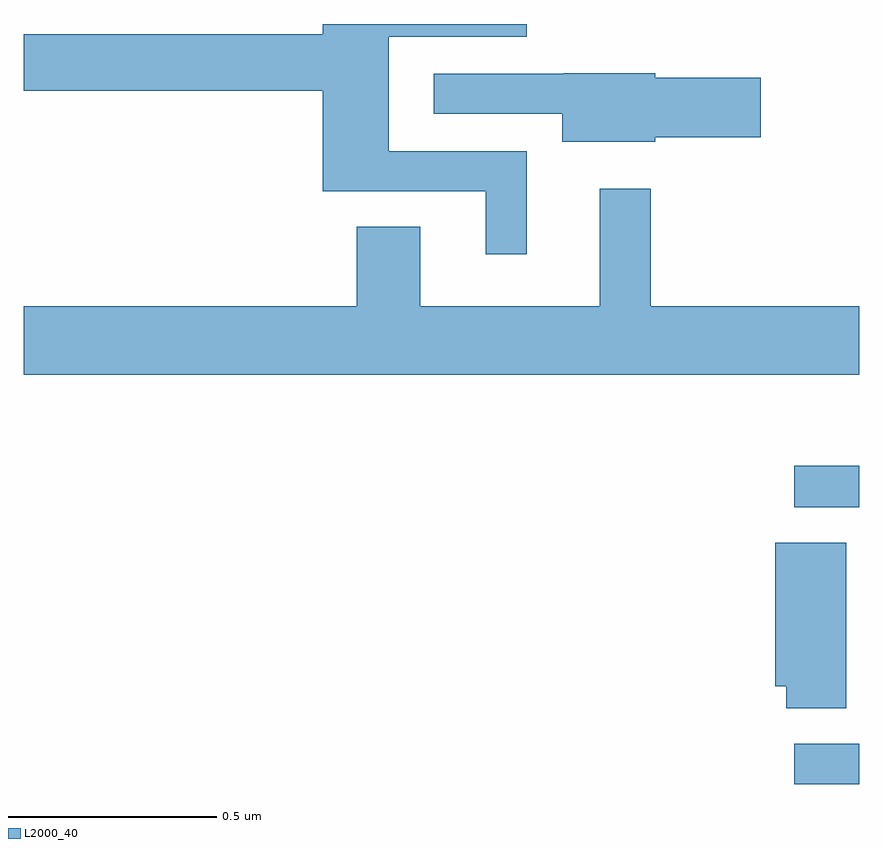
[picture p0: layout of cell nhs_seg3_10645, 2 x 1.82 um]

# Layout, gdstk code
import gdstk
lib = gdstk.Library(unit=1e-6, precision=1e-09)
def R(c, l, rs):  # rectangles x0, y0, x1, y1
    for r in rs: c.add(gdstk.rectangle(r[:2], r[2:], *l))
def P(c, l, *ps):  # polygons
    for p in ps: c.add(gdstk.Polygon(p, *l))
L2000_40 = (2000, 40)

nhs_seg3_10645 = lib.new_cell('nhs_seg3_10645')
R(nhs_seg3_10645, L2000_40, [(244.845,722.58,245,722.676), (244.845,723.243,245,723.342)])
P(nhs_seg3_10645, L2000_40, [(244.204,724.095),(243.874,724.095),(243.874,724.37),(244.204,724.37),(244.204,724.4),(243.716,724.4),(243.716,724.376),(243,724.376),(243,724.24),(243.716,724.24),(243.716,723.999),(244.106,723.999),(244.106,723.849),(244.204,723.849)],
  [(244.512,724.129),(244.765,724.129),(244.765,724.271),(244.512,724.271),(244.512,724.282),(244.293,724.282),(244.293,724.281),(243.981,724.281),(243.981,724.185),(244.289,724.185),(244.289,724.118),(244.512,724.118)],
  [(245,723.724),(244.501,723.724),(244.501,724.006),(244.379,724.006),(244.379,723.724),(243.949,723.724),(243.949,723.914),(243.797,723.914),(243.797,723.724),(243,723.724),(243,723.56),(245,723.56)],
  [(244.969,723.158),(244.799,723.158),(244.799,722.814),(244.826,722.814),(244.826,722.761),(244.969,722.761)])

lib.write_gds('nhs_seg3_10645.gds')
